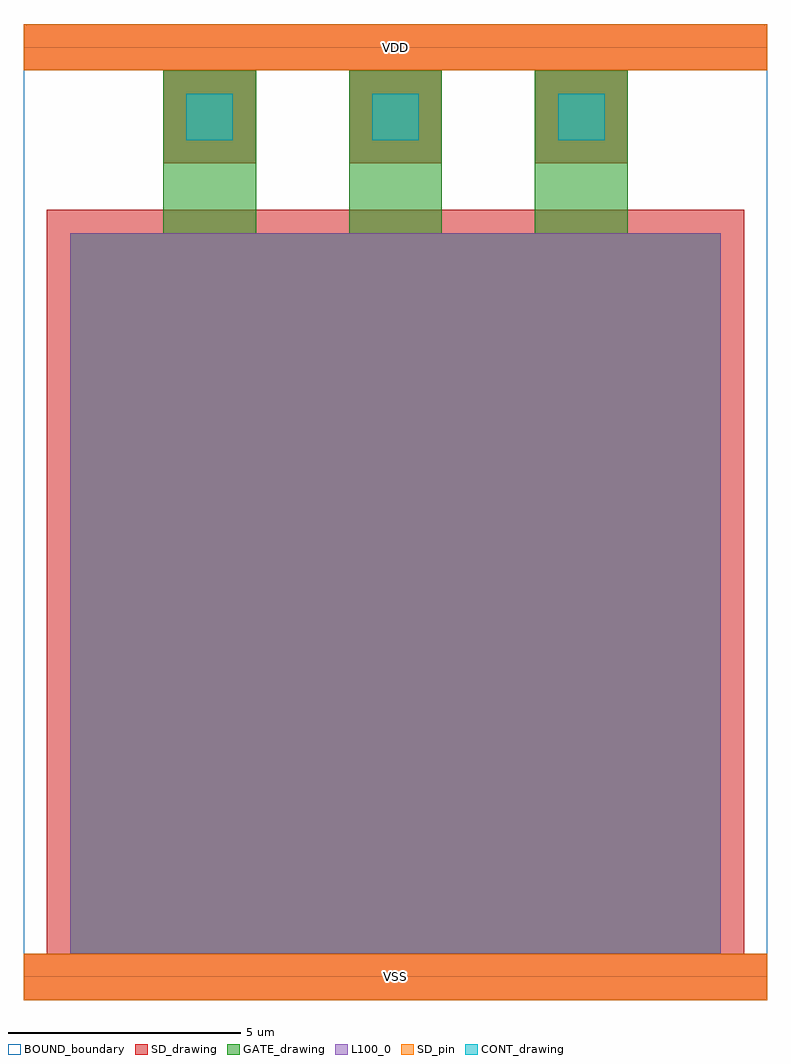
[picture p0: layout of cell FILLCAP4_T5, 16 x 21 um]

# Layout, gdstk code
import gdstk
lib = gdstk.Library(unit=1e-6, precision=1e-09)
def R(c, l, rs):  # rectangles x0, y0, x1, y1
    for r in rs: c.add(gdstk.rectangle(r[:2], r[2:], *l))
def A(c, l, x, y, w, h, nx, ny, dx, dy):  # array of equal rectangles
    R(c, l, [(x+i*dx, y+j*dy, x+i*dx+w, y+j*dy+h) for i in range(nx) for j in range(ny)])
SD_drawing = (10, 0)
SD_pin = (10, 3)
GATE_drawing = (11, 0)
CONT_drawing = (30, 0)
L100_0 = (100, 0)
BOUND_boundary = (150, 5)

cap_cdns_772544894440 = lib.new_cell('cap_CDNS_772544894440')
R(cap_cdns_772544894440, SD_drawing, [(-7.5,-8.25,7.5,8.25)])
R(cap_cdns_772544894440, GATE_drawing, [(-7,-7.75,7,7.75)])
R(cap_cdns_772544894440, L100_0, [(-7,-7.75,7,7.75)])

sd_gate_cdns_77254489444 = lib.new_cell('SD_GATE_CDNS_772544894440')
R(sd_gate_cdns_77254489444, SD_drawing, [(-1,-1,1,1)])
R(sd_gate_cdns_77254489444, GATE_drawing, [(-1,-1,1,1)])
R(sd_gate_cdns_77254489444, CONT_drawing, [(-0.5,-0.5,0.5,0.5)])

fillcap4_t5 = lib.new_cell('FILLCAP4_T5')
R(fillcap4_t5, SD_pin, [(0,-0.5,16,0.5), (0,19.5,16,20.5)])
A(fillcap4_t5, GATE_drawing, 3, 16, 2, 1.5, 3, 1, 4, 0)
R(fillcap4_t5, BOUND_boundary, [(0,0,16,20)])
fillcap4_t5.add(gdstk.FlexPath([(0,20),(16,20)], 1, ends="flush", simple_path=True, layer=10, datatype=0))  # SD_drawing
fillcap4_t5.add(gdstk.FlexPath([(0,0),(16,0)], 1, ends="flush", simple_path=True, layer=10, datatype=0))  # SD_drawing
fillcap4_t5.add(gdstk.Reference(cap_cdns_772544894440, (8,8.25)))
fillcap4_t5.add(gdstk.Reference(sd_gate_cdns_77254489444, (12,18.5)))
fillcap4_t5.add(gdstk.Reference(sd_gate_cdns_77254489444, (8,18.5)))
fillcap4_t5.add(gdstk.Reference(sd_gate_cdns_77254489444, (4,18.5)))
fillcap4_t5.add(gdstk.Label('VSS', (8,0), layer=10, texttype=3))
fillcap4_t5.add(gdstk.Label('VDD', (8,20), layer=10, texttype=3))

lib.write_gds('FILLCAP4_T5.gds')
